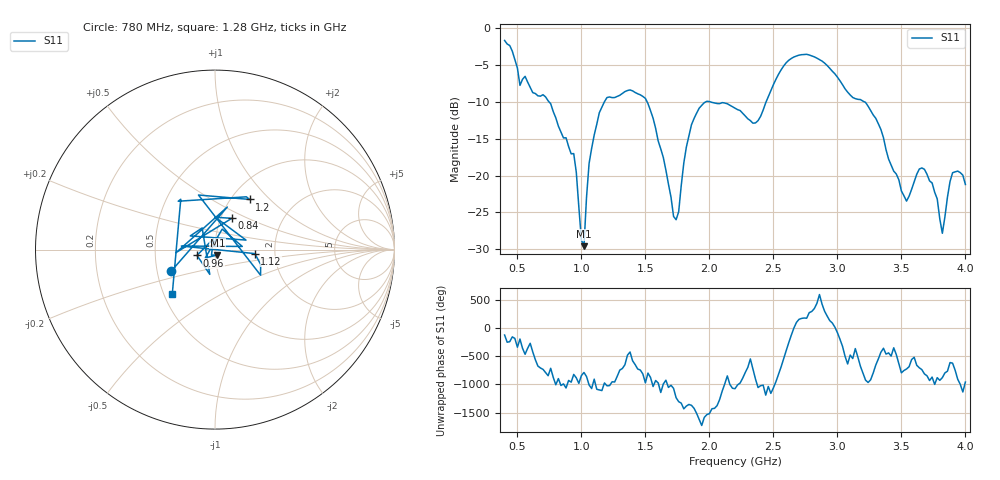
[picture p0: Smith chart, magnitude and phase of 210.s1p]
!Created with skrf (http://scikit-rf.org).
# Hz S RI R 50.0
!freq ReS11 ImS11
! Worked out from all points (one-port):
!   181 points, 400 MHz to 4 GHz, reference 50 ohm
!   lowest |S11| = -29.6 dB at 1.02 GHz (marker M1), VSWR 1.07, Z = 51.2 - j3.12 ohm
!   |S11| at or under -10 dB: 1.514 GHz to 1.97 GHz (455.6 MHz wide, 26.2 % of centre); 2.011 GHz to 2.442 GHz (431.4 MHz wide, 19.4 % of centre); 3.214 GHz to end of sweep (the widest 3 of 4)
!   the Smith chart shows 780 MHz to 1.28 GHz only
!   S11 on the Smith chart (normalised r, x): 780 MHz: 0.59, -0.15; 840 MHz: 1.13, +0.41; 960 MHz: 0.82, -0.05; 1.12 GHz: 1.57, -0.07; 1.2 GHz: 1.21, +0.77; 1.28 GHz: 0.55, -0.31
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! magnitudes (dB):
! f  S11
! 400 MHz  -1.6
! 520 MHz  -7.7
! 780 MHz  -11.3
! 840 MHz  -14.1
! 860 MHz  -14.9
! 960 MHz  -19.5
! 1 GHz  -28.8
! 1.02 GHz  -29.6
! 1.06 GHz  -18.4
! 1.12 GHz  -13.0
! 1.2 GHz  -9.4
! 1.28 GHz  -9.2
! 1.3 GHz  -9.1
! 1.5 GHz  -9.5
! 1.72 GHz  -25.6
! 1.76 GHz  -24.9
! 1.82 GHz  -16.1
! 1.92 GHz  -10.8
! 2.2 GHz  -10.8
! 2.36 GHz  -12.8
! 2.66 GHz  -3.9
! 3.1 GHz  -9.0
! 3.3 GHz  -12.2
! 3.56 GHz  -22.8
! 3.68 GHz  -19.2
! 3.82 GHz  -27.9
! 3.9 GHz  -19.6
! 4 GHz  -21.2
